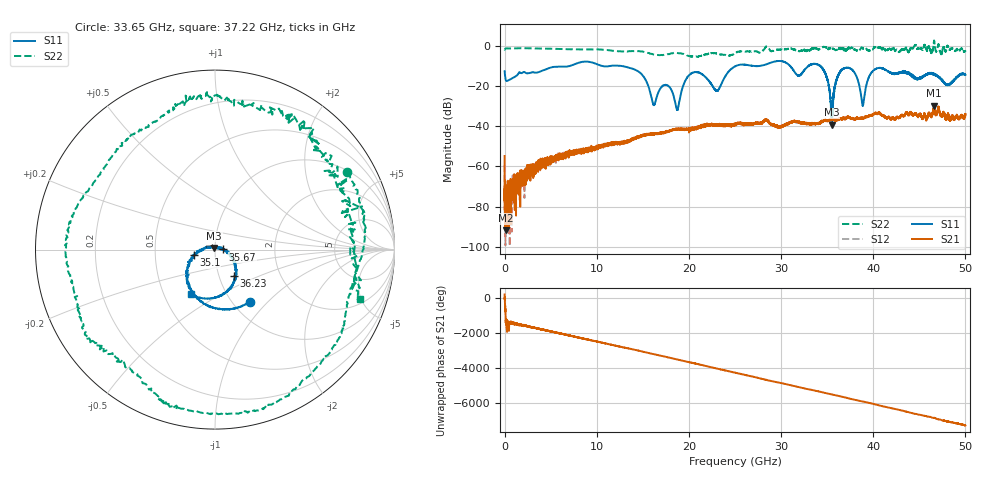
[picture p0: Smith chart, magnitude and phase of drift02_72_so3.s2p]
!Created with skrf (http://scikit-rf.org).
# Hz S RI R 50.0
!freq ReS11 ImS11 ReS21 ImS21 ReS12 ImS12 ReS22 ImS22
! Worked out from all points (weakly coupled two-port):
!   10001 points, 300 kHz to 50 GHz, reference 50 ohm
!   highest |S21| = -29.88 dB at 46.63 GHz (marker M1); lowest = -91.7 dB at 165.3 MHz (marker M2)
!   lowest |S11| = -39.3 dB at 35.49 GHz (marker M3), VSWR 1.02, Z = 49.5 + j0.951 ohm
!   |S11| at or under -10 dB: start of sweep to 7.18 GHz; 12.35 GHz to 25.17 GHz (12.83 GHz wide, 68.4 % of centre); 34.21 GHz to end of sweep (the widest 3 of 19)
!   |S22| runs from -5.7 to 2.5 dB; largest |S21 - S12| = 0.0036
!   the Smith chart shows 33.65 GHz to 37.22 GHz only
!   S11 on the Smith chart (normalised r, x): 33.65 GHz: 1.20, -0.79; 35.1 GHz: 0.78, -0.05; 35.67 GHz: 1.10, +0.00; 36.23 GHz: 1.18, -0.36; 37.22 GHz: 0.68, -0.37
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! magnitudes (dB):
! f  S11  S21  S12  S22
! 300 kHz  -12.8  -54.8  -59.1  -2.1
! 165.3 MHz  -17.5  -91.7  -83.1  -1.4
! 8.335 GHz  -8.2  -52.6  -53.0  -1.9
! 14.03 GHz  -11.8  -46.1  -46.4  -2.8
! 16.67 GHz  -23.4  -43.9  -43.7  -4.7
! 17.73 GHz  -19.9  -42.6  -42.7  -4.3
! 18.74 GHz  -32.0  -41.4  -41.5  -3.7
! 20.23 GHz  -13.9  -41.7  -41.4  -5.4
! 23.04 GHz  -22.5  -39.2  -39.1  -4.1
! 25 GHz  -10.4  -38.7  -39.8  -3.9
! 33.34 GHz  -9.3  -38.8  -39.0  -1.6
! 33.65 GHz  -9.1  -38.7  -38.6  -1.4
! 35.1 GHz  -18.2  -37.1  -37.0  -1.8
! 35.49 GHz  -39.3  -36.9  -36.9  -1.8
! 35.67 GHz  -26.8  -36.6  -36.7  -1.7
! 36.23 GHz  -14.7  -36.5  -36.6  -1.9
! 37.22 GHz  -11.0  -35.4  -35.3  -1.4
! 38.86 GHz  -29.8  -36.1  -36.0  -1.4
! 39.93 GHz  -12.8  -34.3  -34.3  -2.0
! 41.67 GHz  -13.0  -35.6  -35.9  -1.9
! 46.63 GHz  -14.3  -29.9  -30.8  2.1
! 50 GHz  -14.5  -34.1  -34.8  -2.8
